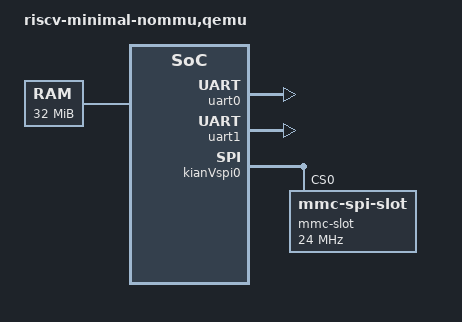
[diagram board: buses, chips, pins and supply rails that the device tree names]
/dts-v1/;

/ {
	#address-cells = <0x02>;
	#size-cells = <0x02>;
	compatible = "riscv-minimal-nommu";
	model = "riscv-minimal-nommu,qemu";

	chosen {
	//	bootargs = "earlycon=uart8250,mmio,0x10000000,3000000 console=ttyS0 debug memtest=0";
    bootargs = "earlycon=uart8250,mmio,0x10000000,3000000 console=ttyS0 debug memtest=0 root=/dev/mmcblk0p1 rootwait rootfstype=ext2";
	};

	memory@80000000 {
		device_type = "memory";
		reg = <0x00 0x80000000 0x00 0x2000000>;
	};

	cpus {
		#address-cells = <0x01>;
		#size-cells = <0x00>;
		timebase-frequency = <10000>;

		cpu@0 {
			clock-frequency = <40000000>;
			phandle = <0x01>;
			device_type = "cpu";
			reg = <0x00>;
			status = "okay";
			compatible = "riscv";
			riscv,isa = "rv32ima";
			mmu-type = "riscv,none";

			interrupt-controller {
				#interrupt-cells = <0x01>;
				interrupt-controller;
				compatible = "riscv,cpu-intc";
				phandle = <0x02>;
			};
		};

		cpu-map {

			cluster0 {

				core0 {
					cpu = <0x01>;
				};
			};
		};
	};

	soc {
		#address-cells = <0x02>;
		#size-cells = <0x02>;
		compatible = "simple-bus";
		ranges;

    uart0: uart@10000000 {
      device_type = "serial";
			clock-frequency = <0x1000000>;
			reg = <0x00 0x10000000 0x00 0x100>;
			compatible = "ns16850";
      status = "ok";
		};

    uart1: uart@10000100 {
      device_type = "serial";
			clock-frequency = <0x1000000>;
			reg = <0x00 0x10000100 0x00 0x100>;
			compatible = "ns16850";
      status = "ok";
		};

    uart2: uart@10000200 {
      device_type = "serial";
			clock-frequency = <0x1000000>;
			reg = <0x00 0x10000200 0x00 0x100>;
			compatible = "ns16850";
      status = "disabled";
		};

    uart3: uart@10000300 {
      device_type = "serial";
			clock-frequency = <0x1000000>;
			reg = <0x00 0x10000300 0x00 0x100>;
			compatible = "ns16850";
      status = "disabled";
		};

    uart4: uart@10000400 {
      device_type = "serial";
			clock-frequency = <0x1000000>;
			reg = <0x00 0x10000400 0x00 0x100>;
			compatible = "ns16850";
      status = "disabled";
		};

		poweroff {
			value = <0x5555>;
			offset = <0x00>;
			regmap = <0x04>;
			compatible = "syscon-poweroff";
		};

		reboot {
			value = <0x7777>;
			offset = <0x00>;
			regmap = <0x04>;
			compatible = "syscon-reboot";
		};

		syscon@11100000 {
			phandle = <0x04>;
			reg = <0x00 0x11100000 0x00 0x1000>;
			compatible = "syscon";
		};

		clint@11000000 {
			interrupts-extended = <0x02 0x03 0x02 0x07>;
			reg = <0x00 0x11000000 0x00 0x10000>;
			compatible = "sifive,clint0\0riscv,clint0";
		};

    kianvgpio: gpio@10000700 {
        compatible = "kianV,kianv-gpio";
        reg = <0x00 0x10000700 0x00 0x1000>;
        gpio-controller;
        #gpio-cells = <2>;
    };

		kianVspi0: spi@10500000 {
			compatible = "kianVfpga,kianVspi-simple";
			reg = <0x00 0x10500000 0x00 0x100>;
			status = "okay";
			kianVfpga,num-cs = <1>;
			kianVfpga,sck-frequency = <0>; // sd card works only with small values 
      spi-cpha = <0>;
      spi-cpol = <0>;

			#address-cells = <1>;
			#size-cells    = <0>;

// 		flash: flash@0 {
// 			compatible = "spi-nor";
// 			reg = <0x0>;
//
// 			#address-cells = <0x1>;
// 			#size-cells    = <0x1>;
// 			partition@0 {
// 				label = "spi-nor-flash";
// 				reg = <0x00000000 0x02000000>;
// 			};
//    };

        /*
				partition@0 {
					label = "fpga";
					reg = <0x00000000 0x00020000>;
				};

				partition@20000 {
					label = "bios";
					reg = <0x00020000 0x00010000>;
				};

				partition@30000 {
					label = "dt";
					reg = <0x00030000 0x00010000>;
				};

				partition@40000 {
					label = "kernel";
					reg = <0x00040000 0x005c0000>;
				};

				partition@600000 {
					label = "ubi";
					reg = <0x00600000 0x00a00000>;
				};
		   };
       */

//			spidev0: spidev@0 {
//				//compatible = "linux,spidev";
//				compatible = "kianVfpga,kianVspi-simple";
//				reg = <0>;
//				spi-max-frequency = <15000000>;
//				status = "okay";
//			 };

      mmc-slot@0 {
        compatible = "mmc-spi-slot";
        //bus-width = <1>;
        spi-max-frequency = <24000000>; /* 24 MHz max freq */
        voltage-ranges = <3200 3400>; /* Voltage range in millivolts */
        reg = <0>; /* Chip Select 0 */
        status = "okay";
        disable-wp;
        non-removable;
        no-sdio;
        no-mmc;
      };
		 };
	};
};
